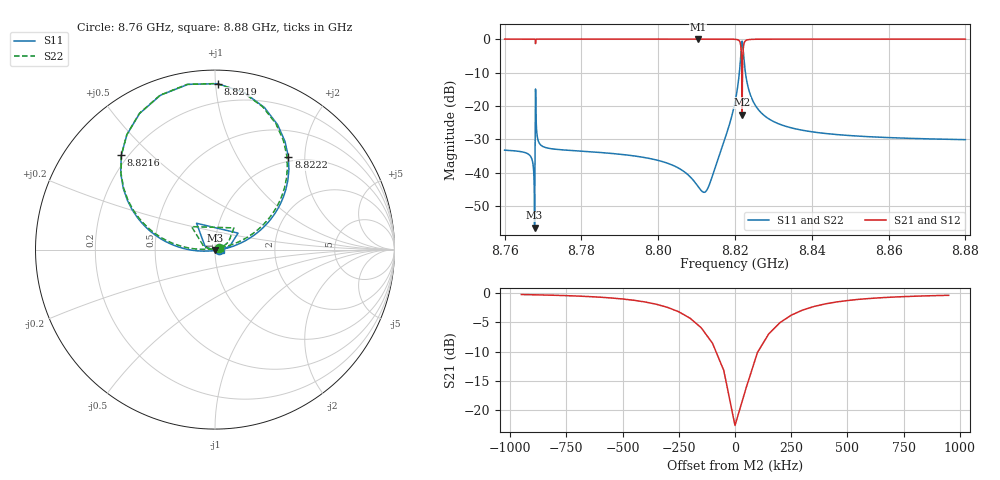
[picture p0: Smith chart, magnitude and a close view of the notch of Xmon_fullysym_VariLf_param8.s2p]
! Sonnet Data File
! From: emgraph Version : 16.52
! From Project: 171117_Xmon_fullysym
! Data is De-embedded
! Data File Written: 11/27/2017 00:27:56
!< HDATE 11/26/2017 21:47:59
!< MDATE 11/26/2017 21:47:59
!< PARAMS
!< Lj = 11.0
!< Gap = 1.0
!< Pwid = 2000.0
!< Airgap = 6.0
!< Width = 10.0
!< Lj1 = 10.76
!< END PARAMS
# GHZ S MA R 50.90000
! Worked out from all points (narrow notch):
!   2401 points, 8.76 GHz to 8.88 GHz, reference 50.9 ohm
!   highest |S21| = 0.00 dB at 8.8104 GHz (marker M1); lowest = -22.6 dB at 8.8218 GHz (marker M2)
!   notch at M2: 22.6 dB deep, 161 kHz wide at half that depth
!   lowest |S11| = -56.4 dB at 8.7678 GHz (marker M3), VSWR 1.00, Z = 50.9 - j0.151 ohm
!   |S11| at or under -10 dB: start of sweep to 8.8211 GHz; 8.8227 GHz to end of sweep
!   |S22| runs from -47.0 to -0.6 dB; largest |S21 - S12| = 0
!   S11 on the Smith chart (normalised r, x): 8.76 GHz: 1.04, -0.00; 8.8216 GHz: 0.17, +0.41; 8.8219 GHz: 0.08, +1.01; 8.8222 GHz: 0.92, +1.68; 8.88 GHz: 1.06, -0.00
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8.76  0.02182 -4.2  0.9998 -80.7  0.9998 -80.7  0.02182 22.8
!< P1 F=8.76 Eeff=(6.44841381 -2.9796e-5) Z0=(50.9085048 1.17026e-4) R=0.0 C=0.0
!< P2 F=8.76 Eeff=(6.44841381 -2.9796e-5) Z0=(50.9085048 1.17026e-4) R=0.0 C=0.0
8.76605  0.01926 -5.5  0.9998 -80.9  0.9998 -80.9  0.01927 23.8
8.7673  0.01454 -8.1  0.9997 -81.2  0.9997 -81.2  0.01462 27.1
8.7678  0.001514 -77.7  0.9985 -82.0  0.9985 -82.0  0.004484 100.4
8.7686  0.03257 -0.6  0.9991 -80.2  0.9991 -80.2  0.03264 21.6
8.77025  0.02434 -3.5  0.9997 -80.7  0.9997 -80.7  0.02435 22.3
8.78  0.02107 -5.3  0.9998 -81.0  0.9998 -81.0  0.02108 23.4
8.8  0.01533 -11.3  0.9999 -81.5  0.9999 -81.5  0.01533 28.4
8.8104  0.006225 -47.7  0.9999 -82.2  0.9999 -82.2  0.00629 63.7
8.81315  0.006285 -118.7  0.9999 -82.6  0.9999 -82.6  0.006393 132.7
8.82  0.1136 -177.3  0.9921 -89.0  0.9921 -89.0  0.1137 177.9
8.8212  0.3439 166.3  0.9286 -102.6  0.9286 -102.6  0.3442 165.1
8.82165  0.7407 134.8  0.6081 -130.1  0.6081 -130.1  0.7412 134.7
8.82185  0.9328 99.3  0.07445 -107.7  0.07445 -107.7  0.9335 99.6
8.8219  0.9245 89.1  0.1565 -25.2  0.1565 -25.2  0.9252 89.5
8.82215  0.6592 51.7  0.712 -41.4  0.712 -41.4  0.6597 52.7
8.82255  0.3724 29.9  0.9187 -60.6  0.9187 -60.6  0.3727 31.7
8.8232  0.2159 19.1  0.9738 -70.0  0.9738 -70.0  0.216 22.2
8.82645  0.08325 8.6  0.9963 -77.8  0.9963 -77.8  0.08328 16.1
8.84  0.0411 2.3  0.9991 -80.3  0.9991 -80.3  0.04111 17.1
8.86  0.03364 -0.0  0.9994 -81.0  0.9994 -81.0  0.03364 18.1
8.88  0.03133 -1.0  0.9995 -81.3  0.9995 -81.3  0.03133 18.5
